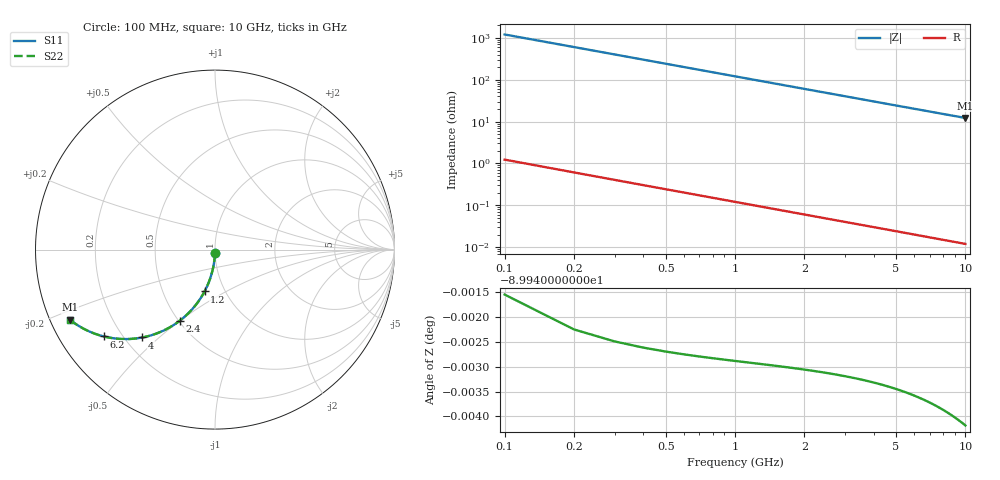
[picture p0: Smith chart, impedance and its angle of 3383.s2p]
# Hz S RI R 50.00
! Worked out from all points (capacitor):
!   100 points, 100 MHz to 10 GHz, reference 50 ohm
!   read as one part in shunt: C = 1.32 pF near 100 MHz
!   lowest |Z| = 12.2 ohm at 10 GHz (marker M1)
!   S11 on the Smith chart (normalised r, x): 100 MHz: 1.00, -0.04; 1.2 GHz: 0.80, -0.40; 2.4 GHz: 0.50, -0.50; 4 GHz: 0.27, -0.44; 6.2 GHz: 0.13, -0.34; 10 GHz: 0.06, -0.23
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1e8  -0.000436 -0.0206  0.9995 -0.0207  0.9995 -0.0207  -0.000436 -0.0206
2e8  -0.00173 -0.0412  0.9982 -0.0413  0.9982 -0.0413  -0.00173 -0.0412
3e8  -0.00388 -0.0617  0.9961 -0.0618  0.9961 -0.0618  -0.00388 -0.0617
4e8  -0.00686 -0.082  0.9931 -0.0822  0.9931 -0.0822  -0.00686 -0.082
5e8  -0.0107 -0.1021  0.9893 -0.1023  0.9893 -0.1023  -0.0107 -0.1021
6e8  -0.0152 -0.122  0.9847 -0.1222  0.9847 -0.1222  -0.0152 -0.122
7e8  -0.0206 -0.1415  0.9794 -0.1418  0.9794 -0.1418  -0.0206 -0.1415
9e8  -0.0336 -0.1795  0.9664 -0.1799  0.9664 -0.1799  -0.0336 -0.1795
1.2e9  -0.0581 -0.2332  0.9419 -0.2337  0.9419 -0.2337  -0.0581 -0.2332
1.5e9  -0.0878 -0.2822  0.9122 -0.2829  0.9122 -0.2829  -0.0878 -0.2822
1.8e9  -0.1217 -0.326  0.8783 -0.3268  0.8783 -0.3268  -0.1217 -0.326
2.1e9  -0.1585 -0.3643  0.8414 -0.3652  0.8414 -0.3652  -0.1585 -0.3643
2.4e9  -0.1974 -0.397  0.8026 -0.398  0.8026 -0.398  -0.1974 -0.397
2.9e9  -0.264 -0.4397  0.736 -0.4409  0.736 -0.4409  -0.264 -0.4397
3.4e9  -0.33 -0.469  0.67 -0.4704  0.67 -0.4704  -0.33 -0.469
4e9  -0.4051 -0.4896  0.5949 -0.4912  0.5949 -0.4912  -0.4051 -0.4896
5.1e9  -0.5248 -0.4978  0.4751 -0.5  0.4751 -0.5  -0.5248 -0.4978
6.2e9  -0.6196 -0.4837  0.3803 -0.4863  0.3803 -0.4863  -0.6196 -0.4837
6.7e9  -0.6553 -0.4734  0.3447 -0.4762  0.3447 -0.4762  -0.6553 -0.4734
7.5e9  -0.704 -0.4544  0.2959 -0.4576  0.2959 -0.4576  -0.704 -0.4544
8.4e9  -0.7487 -0.4314  0.2512 -0.435  0.2512 -0.435  -0.7487 -0.4314
1e10  -0.8082 -0.3911  0.1918 -0.3953  0.1918 -0.3953  -0.8082 -0.3911
